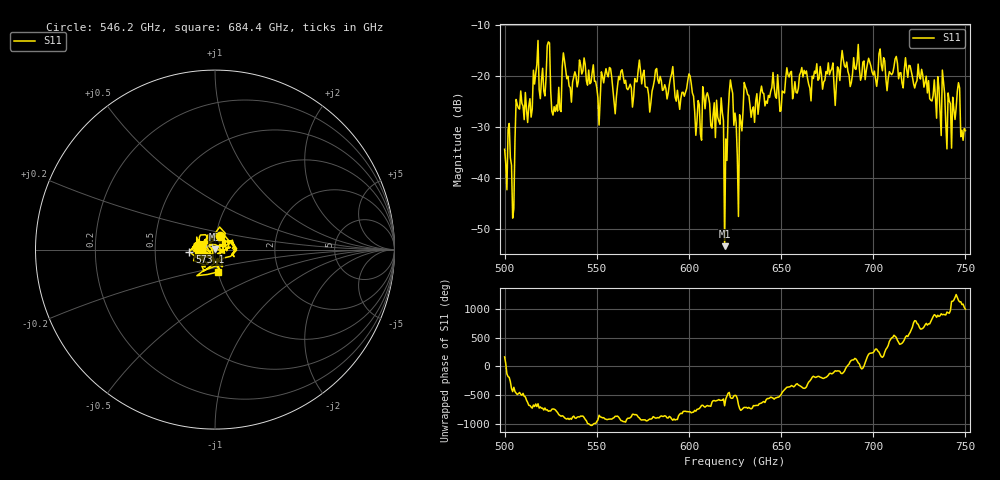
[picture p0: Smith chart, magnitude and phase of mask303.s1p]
!Created with skrf (http://scikit-rf.org).
# GHz S MA R 50.0
!freq magS11 angS11
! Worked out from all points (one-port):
!   401 points, 500 GHz to 750 GHz, reference 50 ohm
!   lowest |S11| = -53.4 dB at 619.4 GHz (marker M1), VSWR 1.00, Z = 50.2 + j0.128 ohm
!   |S11| at or under -10 dB: start of sweep to end of sweep
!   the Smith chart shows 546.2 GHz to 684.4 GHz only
!   S11 on the Smith chart (normalised r, x): 546.2 GHz: 1.05, +0.16; 573.1 GHz: 0.75, -0.02; 684.4 GHz: 1.01, -0.25
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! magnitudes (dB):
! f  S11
! 500 GHz  -34.4
! 504.4 GHz  -47.9
! 507.5 GHz  -26.3
! 513.8 GHz  -24.5
! 516.9 GHz  -19.6
! 520.6 GHz  -18.5
! 523.8 GHz  -13.3
! 526.9 GHz  -26.1
! 531.2 GHz  -18.3
! 546.2 GHz  -21.6
! 562.5 GHz  -20.8
! 573.1 GHz  -16.9
! 593.8 GHz  -22.8
! 600 GHz  -19.6
! 616.2 GHz  -28.9
! 619.4 GHz  -53.4
! 622.5 GHz  -20.8
! 625 GHz  -27.3
! 627.5 GHz  -27.6
! 631.2 GHz  -22.7
! 634.4 GHz  -26.7
! 656.2 GHz  -24.5
! 684.4 GHz  -18.0
! 687.5 GHz  -22.1
! 718.8 GHz  -20.3
! 741.2 GHz  -24.9
! 745.6 GHz  -23.0
! 750 GHz  -30.8
